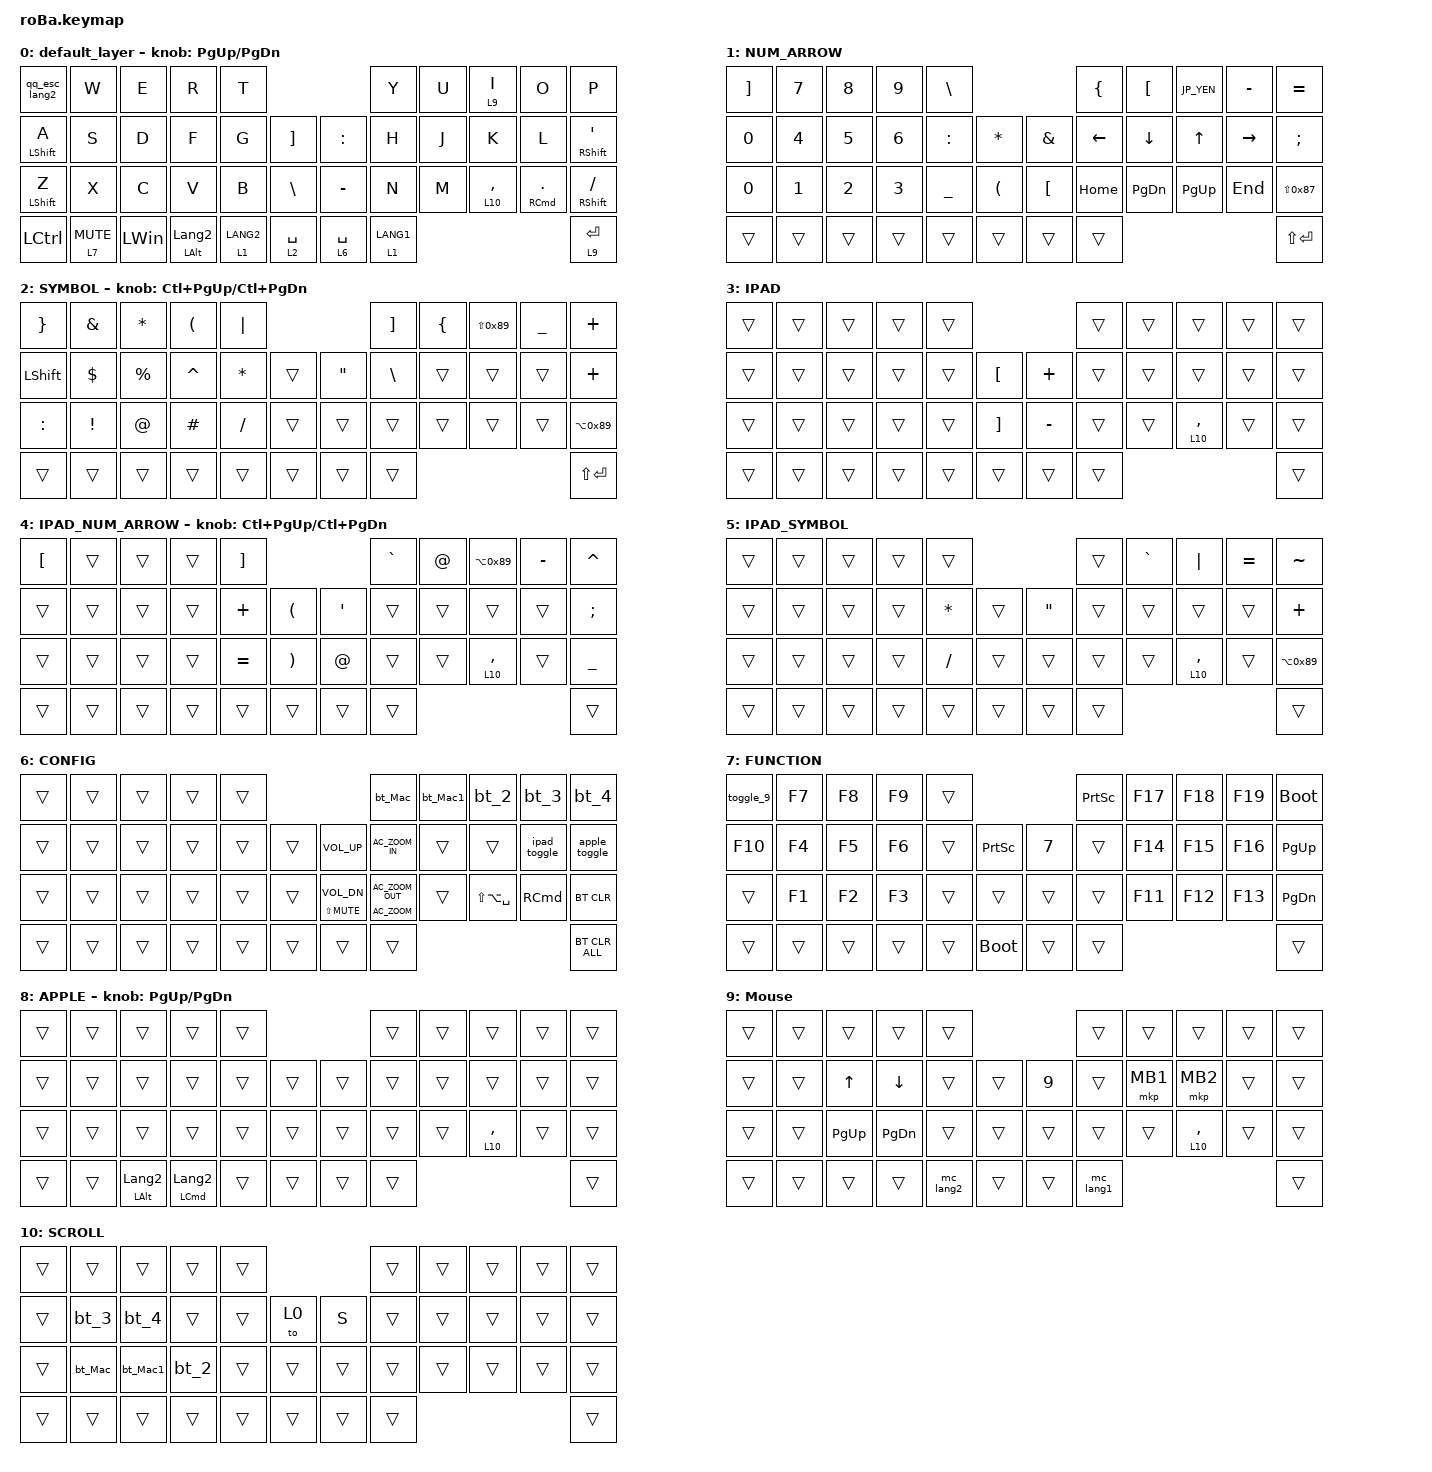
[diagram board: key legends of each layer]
#include <behaviors.dtsi>
#include <dt-bindings/zmk/bt.h>
#include <dt-bindings/zmk/keys.h>
#include <dt-bindings/zmk/pointing.h>

&mt {
    flavor = "balanced";
    quick-tap-ms = <0>;
};

// OS設定を日本語キーボードのまま使用するための変換定義

#define JP_DQUOTE       AT                // "
#define JP_AMPERSAND    CARET             // &
#define JP_QUOTE        AMPERSAND         // '
#define JP_EQUAL        UNDER             // =
#define JP_CARET        EQUAL             // ^
#define JP_YEN          0x89              // ¥
#define JP_PLUS         COLON             // +
#define JP_TILDE        PLUS              // ~
#define JP_PIPE         LS(0x89)          // |
#define JP_AT           LEFT_BRACKET      // @
#define JP_COLON        SINGLE_QUOTE      // :
#define JP_ASTERISK     DOUBLE_QUOTES     // *
#define JP_BACKQUOTE    LEFT_BRACE        // `
#define JP_UNDERSCORE   LS(0x87)          // _
#define JP_BACKSLASH    LA(0x89)          // \ (Option+¥)
#define JP_LBRACKET     RIGHT_BRACKET     // [
#define JP_RBRACKET     BACKSLASH         // ]
#define JP_LPAREN       ASTERISK          // (
#define JP_RPAREN       LEFT_PARENTHESIS  // )
#define JP_LBRACE       RIGHT_BRACE       // {
#define JP_RBRACE       PIPE              // }
#define JP_KANA         LANGUAGE_1        // かな
#define JP_EISU         LANGUAGE_2        // 英数
#define JP_HANZEN       GRAVE             // 半角/全角

/ {
    conditional_layers {
        compatible = "zmk,conditional-layers";

        ipad_num_arrow {
            if-layers = <1 3>;      // NUM_ARROW + iPad
            then-layer = <4>;       // iPad用NUM_ARROW
        };

        ipad_symbol {
            if-layers = <2 3>;      // SYMBOL + iPad
            then-layer = <5>;       // iPad用SYMBOL
        };
    };

    combos {
        compatible = "zmk,combos";

        tab {
            bindings = <&kp TAB>;
            key-positions = <11 12>;
        };

        qw_to_esc {
            bindings = <&kp ESCAPE>;
            key-positions = <0 1>;
        };

        op_is_backspace {
            bindings = <&kp DEL>;
            key-positions = <8 9>;
        };

        lisBS {
            bindings = <&kp BSPC>;
            key-positions = <20 21>;
        };

        ASisAT {
            bindings = <&kp JP_AT>;
            key-positions = <12 13>;
        };

        dk_backspace {
            bindings = <&kp BACKSPACE>;
            key-positions = <19 20>;
        };

        io_dell {
            bindings = <&kp DEL>;
            key-positions = <7 8>;
        };

        jk-is-esc-lang2 {
            bindings = <&esc_lang2>;
            key-positions = <18 19>;
        };

        both_shift_to_capsword {
            bindings = <&caps_word>;
            key-positions = <10 21>;
        };
    };

    macros {
        esc_lang2: to_layer_0 {
            compatible = "zmk,behavior-macro";
            #binding-cells = <0>;
            bindings = <&kp ESC &kp LANGUAGE_2>;
            label = "TO_LAYER_0";
        };

        apple_toggle: apple_toggle {
            compatible = "zmk,behavior-macro";
            #binding-cells = <0>;
            bindings = <&tog 8>;
            label = "APPLE_TOGGLE";
        };

        ipad_toggle: sjis_toggle {
            compatible = "zmk,behavior-macro";
            #binding-cells = <0>;
            bindings = <&tog 3>;
            label = "SJIS_TOGGLE";
        };

        bt_Mac: Mac {
            compatible = "zmk,behavior-macro";
            #binding-cells = <0>;
            bindings = <&bt BT_SEL 0>, <&macro_wait_time 100>, <&to 8>;

            label = "MAC";
        };

        bt_Mac1: bt_Mac1 {
            compatible = "zmk,behavior-macro";
            #binding-cells = <0>;
            bindings = <&bt BT_SEL 1>, <&macro_wait_time 100>, <&to 8>;

            label = "MAC1";
        };

        bt_2: bt_other {
            compatible = "zmk,behavior-macro";
            #binding-cells = <0>;
            bindings = <&bt BT_SEL 2>, <&macro_wait_time 100>, <&to 8>;

            label = "BT_OTHER";
        };

        bt_3: bt_3 {
            compatible = "zmk,behavior-macro";
            #binding-cells = <0>;
            bindings = <&bt BT_SEL 3>, <&macro_wait_time 100>, <&to 8>;

            label = "BT_3";
        };

        bt_4: bt_4 {
            compatible = "zmk,behavior-macro";
            #binding-cells = <0>;
            bindings = <&bt BT_SEL 4>, <&macro_wait_time 100>, <&to 8>;

            label = "BT_4";
        };

        toggle_9: toggle_9 {
            compatible = "zmk,behavior-macro";
            #binding-cells = <0>;
            bindings = <&tog 9>;
            label = "TOGGLE_9";
        };

        // マウス層(9)を抜けつつ言語切替（英数）
        mc_lang2: mc_lang2 {
            compatible = "zmk,behavior-macro";
            #binding-cells = <0>;
            bindings = <&tog 9>, <&kp LANGUAGE_2>;
            label = "MC_LANG2";
        };

        // マウス層(9)を抜けつつ言語切替（かな）
        mc_lang1: mc_lang1 {
            compatible = "zmk,behavior-macro";
            #binding-cells = <0>;
            bindings = <&tog 9>, <&kp LANGUAGE_1>;
            label = "MC_LANG1";
        };
    };

    behaviors {
        lt_to_layer_0: lt_to_layer_0 {
            compatible = "zmk,behavior-hold-tap";
            label = "LAYER_TAP_TO_0";
            bindings = <&mo>, <&esc_lang2>;

            #binding-cells = <2>;
            tapping-term-ms = <200>;
        };

        qq_esc_lang2: qq_esc_lang2 {
            compatible = "zmk,behavior-tap-dance";
            label = "QQ_ESC_LANG2";
            #binding-cells = <0>;
            bindings = <&kp Q>, <&esc_lang2>, <&esc_lang2>;

            tapping-term-ms = <300>;
        };

        ent_ent_mouse: ent_ent_mouse {
            compatible = "zmk,behavior-tap-dance";
            label = "ENT_ENT_MOUSE";
            #binding-cells = <0>;
            bindings = <&kp RET>, <&tog 10>;

            tapping-term-ms = <300>;
        };
    };

    keymap {
        compatible = "zmk,keymap";

        default_layer {
            bindings = <
&qq_esc_lang2     &kp W         &kp E         &kp R                    &kp T                                          &kp Y        &kp U  &lt 9 I       &kp O                  &kp P
&mt LEFT_SHIFT A  &kp S         &kp D         &kp F                    &kp G        &kp JP_LBRACKET      &kp JP_PLUS  &kp H        &kp J  &kp K         &kp L                  &mt RSHIFT JP_COLON
&mt LSHIFT Z      &kp X         &kp C         &kp V                    &kp B        &kp JP_RBRACKET      &kp MINUS    &kp N        &kp M  &lt 10 COMMA  &mt RIGHT_COMMAND DOT  &mt RSHIFT SLASH
&kp LCTRL         &lt 7 K_MUTE  &kp LEFT_WIN  &mt LEFT_ALT LANGUAGE_2  &lt 1 LANG2  &lt 2 SPACE          &lt 6 SPACE  &lt 1 LANG1                                              &lt 9 ENTER
            >;

            sensor-bindings = <&inc_dec_kp PG_UP PAGE_DOWN>;
        };

        NUM_ARROW {
            bindings = <
&kp JP_LBRACKET  &kp NUMBER_7  &kp NUMBER_8  &kp NUMBER_9  &kp JP_RBRACKET                                   &kp JP_BACKQUOTE  &kp JP_AT       &kp JP_YEN    &kp MINUS        &kp JP_CARET
&kp N0           &kp NUMBER_4  &kp NUMBER_5  &kp NUMBER_6  &kp JP_PLUS      &kp JP_LPAREN      &kp JP_QUOTE  &kp LEFT_ARROW    &kp DOWN_ARROW  &kp UP_ARROW  &kp RIGHT_ARROW  &kp SEMICOLON
&kp N0           &kp NUMBER_1  &kp NUMBER_2  &kp NUMBER_3  &kp JP_EQUAL     &kp JP_RPAREN      &kp JP_AT     &kp HOME          &kp PAGE_DOWN   &kp PAGE_UP   &kp END          &kp JP_UNDERSCORE
&trans           &trans        &trans        &trans        &trans           &trans             &trans        &trans                                                           &kp LS(ENTER)
            >;
        };

        SYMBOL {
            bindings = <
&kp JP_LBRACE   &kp JP_QUOTE     &kp JP_LPAREN  &kp JP_RPAREN     &kp JP_RBRACE                                 &kp JP_LBRACKET  &kp JP_BACKQUOTE  &kp JP_PIPE  &kp JP_EQUAL  &kp JP_TILDE
&kp LEFT_SHIFT  &kp DOLLAR       &kp PERCENT    &kp JP_AMPERSAND  &kp ASTERISK   &trans      &kp DOUBLE_QUOTES  &kp JP_RBRACKET  &trans            &trans       &trans        &kp PLUS
&kp JP_PLUS     &kp EXCLAMATION  &kp JP_DQUOTE  &kp HASH          &kp SLASH      &trans      &trans             &trans           &trans            &trans       &trans        &kp JP_BACKSLASH
&trans          &trans           &trans         &trans            &trans         &trans      &trans             &trans                                                        &kp LS(ENTER)
            >;

            sensor-bindings = <&inc_dec_kp LC(PAGE_UP) LC(PAGE_DOWN)>;
        };

        IPAD {
            bindings = <
&trans  &trans  &trans  &trans  &trans                                    &trans  &trans  &trans        &trans  &trans
&trans  &trans  &trans  &trans  &trans  &kp LEFT_BRACKET       &kp PLUS   &trans  &trans  &trans        &trans  &trans
&trans  &trans  &trans  &trans  &trans  &kp RIGHT_BRACKET      &kp MINUS  &trans  &trans  &lt 10 COMMA  &trans  &trans
&trans  &trans  &trans  &trans  &trans  &trans                 &trans     &trans                                &trans
            >;
        };

        IPAD_NUM_ARROW {
            bindings = <
&kp LEFT_BRACKET  &trans  &trans  &trans  &kp RIGHT_BRACKET                                          &kp GRAVE  &kp AT_SIGN  &kp JP_BACKSLASH  &kp MINUS  &kp CARET
&trans            &trans  &trans  &trans  &kp PLUS           &kp LEFT_PARENTHESIS       &kp SQT      &trans     &trans       &trans         &trans     &kp SEMICOLON
&trans            &trans  &trans  &trans  &kp EQUAL          &kp RIGHT_PARENTHESIS      &kp AT_SIGN  &trans     &trans       &lt 10 COMMA   &trans     &kp UNDERSCORE
&trans            &trans  &trans  &trans  &trans             &trans                     &trans       &trans                                            &trans
            >;

            sensor-bindings = <&inc_dec_kp LC(PAGE_UP) LC(PAGE_DOWN)>;
        };

        IPAD_SYMBOL {
            bindings = <
&trans  &trans  &trans  &trans  &trans                                       &trans  &kp GRAVE  &kp PIPE      &kp EQUAL  &kp TILDE
&trans  &trans  &trans  &trans  &kp ASTERISK  &trans      &kp DOUBLE_QUOTES  &trans  &trans     &trans        &trans     &kp PLUS
&trans  &trans  &trans  &trans  &kp SLASH     &trans      &trans             &trans  &trans     &lt 10 COMMA  &trans     &kp JP_BACKSLASH
&trans  &trans  &trans  &trans  &trans        &trans      &trans             &trans                                      &trans
            >;
        };

        CONFIG {
            bindings = <
&trans  &trans  &trans  &trans  &trans                                       &bt_Mac                      &bt_Mac1  &bt_2              &bt_3              &bt_4
&trans  &trans  &trans  &trans  &trans  &trans      &kp C_VOL_UP             &kp C_AC_ZOOM_IN             &trans    &trans             &ipad_toggle       &apple_toggle
&trans  &trans  &trans  &trans  &trans  &trans      &mt LS(K_MUTE) C_VOL_DN  &mt C_AC_ZOOM C_AC_ZOOM_OUT  &trans    &kp LS(LA(SPACE))  &kp RIGHT_COMMAND  &bt BT_CLR
&trans  &trans  &trans  &trans  &trans  &trans      &trans                   &trans                                                                       &bt BT_CLR_ALL
            >;
        };

        FUNCTION {
            bindings = <
&toggle_9  &kp F7  &kp F8  &kp F9  &trans                               &kp PRINTSCREEN  &kp F17  &kp F18  &kp F19  &bootloader
&kp F10    &kp F4  &kp F5  &kp F6  &trans  &kp PRINTSCREEN      &kp N7  &trans           &kp F14  &kp F15  &kp F16  &kp PAGE_UP
&trans     &kp F1  &kp F2  &kp F3  &trans  &trans               &trans  &trans           &kp F11  &kp F12  &kp F13  &kp PAGE_DOWN
&trans     &trans  &trans  &trans  &trans  &bootloader          &trans  &trans                                      &trans
            >;
        };

        APPLE {
            bindings = <
&trans  &trans  &trans                   &trans                       &trans                      &trans  &trans  &trans        &trans  &trans
&trans  &trans  &trans                   &trans                       &trans  &trans      &trans  &trans  &trans  &trans        &trans  &trans
&trans  &trans  &trans                   &trans                       &trans  &trans      &trans  &trans  &trans  &lt 10 COMMA  &trans  &trans
&trans  &trans  &mt LEFT_ALT LANGUAGE_2  &mt LEFT_COMMAND LANGUAGE_2  &trans  &trans      &trans  &trans                                &trans
            >;

            sensor-bindings = <&inc_dec_kp PG_UP PAGE_DOWN>;
        };

        Mouse {
            bindings = <
&trans  &trans  &trans        &trans          &trans                      &trans  &trans    &trans        &trans  &trans
&trans  &trans  &kp UP_ARROW  &kp DOWN_ARROW  &trans  &trans      &kp N9  &trans  &mkp MB1  &mkp MB2      &trans  &trans
&trans  &trans  &kp PAGE_UP   &kp PAGE_DOWN   &trans  &trans      &trans  &trans  &trans    &lt 10 COMMA  &trans  &trans
&trans  &trans  &trans        &trans          &mc_lang2  &trans      &trans  &mc_lang1                                  &trans
            >;
        };

        SCROLL {
            bindings = <
&trans  &trans   &trans    &trans  &trans                      &trans  &trans  &trans  &trans  &trans
&trans  &bt_3    &bt_4     &trans  &trans  &to 0       &kp S   &trans  &trans  &trans  &trans  &trans
&trans  &bt_Mac  &bt_Mac1  &bt_2   &trans  &trans      &trans  &trans  &trans  &trans  &trans  &trans
&trans  &trans   &trans    &trans  &trans  &trans      &trans  &trans                          &trans
            >;
        };
    };
};
